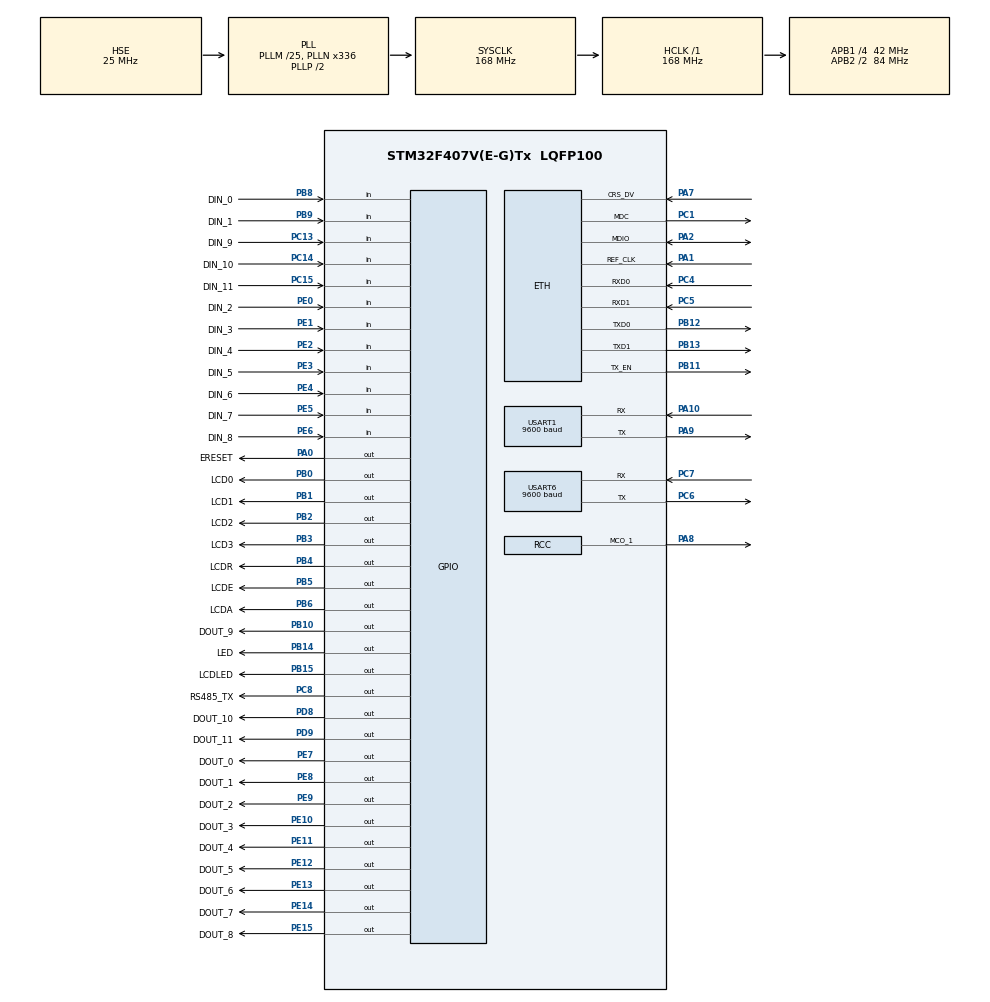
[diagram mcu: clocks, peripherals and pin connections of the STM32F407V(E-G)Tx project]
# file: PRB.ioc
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Dma.Request0=USART1_RX
Dma.Request1=USART6_RX
Dma.USART1_RX.0.Direction=DMA_PERIPH_TO_MEMORY
Dma.USART1_RX.0.FIFOMode=DMA_FIFOMODE_DISABLE
Dma.USART1_RX.0.Instance=DMA2_Stream2
Dma.USART1_RX.0.MemDataAlignment=DMA_MDATAALIGN_BYTE
Dma.USART1_RX.0.MemInc=DMA_MINC_ENABLE
Dma.USART1_RX.0.Mode=DMA_NORMAL
Dma.USART1_RX.0.PeriphDataAlignment=DMA_PDATAALIGN_BYTE
Dma.USART1_RX.0.PeriphInc=DMA_PINC_DISABLE
Dma.USART1_RX.0.Priority=DMA_PRIORITY_LOW
Dma.USART6_RX.1.Direction=DMA_PERIPH_TO_MEMORY
Dma.USART6_RX.1.FIFOMode=DMA_FIFOMODE_DISABLE
Dma.USART6_RX.1.Instance=DMA2_Stream1
Dma.USART6_RX.1.MemDataAlignment=DMA_MDATAALIGN_BYTE
Dma.USART6_RX.1.MemInc=DMA_MINC_ENABLE
Dma.USART6_RX.1.Mode=DMA_NORMAL
Dma.USART6_RX.1.PeriphDataAlignment=DMA_PDATAALIGN_BYTE
Dma.USART6_RX.1.PeriphInc=DMA_PINC_DISABLE
Dma.USART6_RX.1.Priority=DMA_PRIORITY_LOW
ETH.AutoNegotiation=ETH_AUTONEGOTIATION_DISABLE
ETH.DuplexMode=ETH_MODE_HALFDUPLEX
ETH.MediaInterface=ETH_MEDIA_INTERFACE_RMII
ETH.PhyAddress=0
FREERTOS.BinarySemaphores01=writeMemorySemaphore,Dynamic,NULL
FREERTOS.Tasks01=defaultTask,0,128,StartDefaultTask,Default,NULL,Dynamic,NULL,NULL
FREERTOS.configTOTAL_HEAP_SIZE=25360
FREERTOS.configUSE_NEWLIB_REENTRANT=1
LWIP.GATEWAY_ADDRESS=192.168.001.001
LWIP.IP_ADDRESS=192.168.001.177
LWIP.LWIP_DHCP=0
LWIP.NETMASK_ADDRESS=255.255.255.000
LWIP.Version=v2.1.2_Cube
Mcu.Family=STM32F4
Mcu.Name=STM32F407V(E-G)Tx
Mcu.Package=LQFP100
NVIC.DMA2_Stream1_IRQn=true\:5\:0\:false\:false\:true\:true\:false\:true
NVIC.DMA2_Stream2_IRQn=true\:5\:0\:false\:false\:true\:true\:false\:true
NVIC.ETH_IRQn=true\:5\:0\:false\:false\:true\:true\:false\:true
NVIC.PriorityGroup=NVIC_PRIORITYGROUP_4
NVIC.TIM1_UP_TIM10_IRQn=true\:15\:0\:false\:false\:true\:false\:false\:true
NVIC.TimeBase=TIM1_UP_TIM10_IRQn
NVIC.TimeBaseIP=TIM1
NVIC.USART1_IRQn=true\:5\:0\:false\:false\:true\:true\:true\:true
NVIC.USART6_IRQn=true\:5\:0\:false\:false\:true\:true\:true\:true
PA0-WKUP.GPIO_Label=ERESET
PA0-WKUP.Signal=GPIO_Output
PA1.Mode=RMII
PA1.Signal=ETH_REF_CLK
PA10.Mode=Asynchronous
PA10.Signal=USART1_RX
PA13.Mode=Serial_Wire
PA13.Signal=SYS_JTMS-SWDIO
PA14.Mode=Serial_Wire
PA14.Signal=SYS_JTCK-SWCLK
PA2.Mode=RMII
PA2.Signal=ETH_MDIO
PA7.Mode=RMII
PA7.Signal=ETH_CRS_DV
PA8.Mode=Clock-out-1
PA8.Signal=RCC_MCO_1
PA9.Mode=Asynchronous
PA9.Signal=USART1_TX
PB0.GPIO_Label=LCD0
PB0.Signal=GPIO_Output
PB1.GPIO_Label=LCD1
PB1.Signal=GPIO_Output
PB10.GPIO_Label=DOUT_9
PB10.Signal=GPIO_Output
PB11.Mode=RMII
PB11.Signal=ETH_TX_EN
PB12.Mode=RMII
PB12.Signal=ETH_TXD0
PB13.Mode=RMII
PB13.Signal=ETH_TXD1
PB14.GPIO_Label=LED
PB14.Signal=GPIO_Output
PB15.GPIO_Label=LCDLED
PB15.Signal=GPIO_Output
PB2.GPIO_Label=LCD2
PB2.Signal=GPIO_Output
PB3.GPIO_Label=LCD3
PB3.Signal=GPIO_Output
PB4.GPIO_Label=LCDR
PB4.Signal=GPIO_Output
PB5.GPIO_Label=LCDE
PB5.Signal=GPIO_Output
PB6.GPIO_Label=LCDA
PB6.Signal=GPIO_Output
PB8.GPIO_Label=DIN_0
PB8.Signal=GPIO_Input
PB9.GPIO_Label=DIN_1
PB9.Signal=GPIO_Input
PC1.Mode=RMII
PC1.Signal=ETH_MDC
PC13-ANTI_TAMP.GPIO_Label=DIN_9
PC13-ANTI_TAMP.Signal=GPIO_Input
PC14-OSC32_IN.GPIO_Label=DIN_10
PC14-OSC32_IN.Signal=GPIO_Input
PC15-OSC32_OUT.GPIO_Label=DIN_11
PC15-OSC32_OUT.Signal=GPIO_Input
PC4.Mode=RMII
PC4.Signal=ETH_RXD0
PC5.Mode=RMII
PC5.Signal=ETH_RXD1
PC6.Mode=Asynchronous
PC6.Signal=USART6_TX
PC7.Mode=Asynchronous
PC7.Signal=USART6_RX
PC8.GPIO_Label=RS485_TX
PC8.Signal=GPIO_Output
PD8.GPIO_Label=DOUT_10
PD8.Signal=GPIO_Output
PD9.GPIO_Label=DOUT_11
PD9.Signal=GPIO_Output
PE0.GPIO_Label=DIN_2
PE0.Signal=GPIO_Input
PE1.GPIO_Label=DIN_3
PE1.Signal=GPIO_Input
PE10.GPIO_Label=DOUT_3
PE10.Signal=GPIO_Output
PE11.GPIO_Label=DOUT_4
PE11.Signal=GPIO_Output
PE12.GPIO_Label=DOUT_5
PE12.Signal=GPIO_Output
PE13.GPIO_Label=DOUT_6
PE13.Signal=GPIO_Output
PE14.GPIO_Label=DOUT_7
PE14.Signal=GPIO_Output
PE15.GPIO_Label=DOUT_8
PE15.Signal=GPIO_Output
PE2.GPIO_Label=DIN_4
PE2.Signal=GPIO_Input
PE3.GPIO_Label=DIN_5
PE3.Signal=GPIO_Input
PE4.GPIO_Label=DIN_6
PE4.Signal=GPIO_Input
PE5.GPIO_Label=DIN_7
PE5.Signal=GPIO_Input
PE6.GPIO_Label=DIN_8
PE6.Signal=GPIO_Input
PE7.GPIO_Label=DOUT_0
PE7.PinState=GPIO_PIN_RESET
PE7.Signal=GPIO_Output
PE8.GPIO_Label=DOUT_1
PE8.Signal=GPIO_Output
PE9.GPIO_Label=DOUT_2
PE9.Signal=GPIO_Output
PH0-OSC_IN.Mode=HSE-External-Oscillator
PH0-OSC_IN.Signal=RCC_OSC_IN
PH1-OSC_OUT.Mode=HSE-External-Oscillator
PH1-OSC_OUT.Signal=RCC_OSC_OUT
ProjectManager.HeapSize=0x200
ProjectManager.StackSize=0x400
ProjectManager.TargetToolchain=STM32CubeIDE
RCC.48MHZClocksFreq_Value=84000000
RCC.AHBFreq_Value=168000000
RCC.APB1CLKDivider=RCC_HCLK_DIV4
RCC.APB1Freq_Value=42000000
RCC.APB1TimFreq_Value=84000000
RCC.APB2CLKDivider=RCC_HCLK_DIV2
RCC.APB2Freq_Value=84000000
RCC.APB2TimFreq_Value=168000000
RCC.CortexFreq_Value=168000000
RCC.HCLKFreq_Value=168000000
RCC.HSE_VALUE=25000000
RCC.HSI_VALUE=16000000
RCC.LSE_VALUE=32768
RCC.PLLM=25
RCC.PLLN=336
RCC.PLLSourceVirtual=RCC_PLLSOURCE_HSE
RCC.RCC_MCO1Source=RCC_MCO1SOURCE_HSE
RCC.SYSCLKFreq_VALUE=168000000
RCC.SYSCLKSource=RCC_SYSCLKSOURCE_PLLCLK
RCC.VCOOutputFreq_Value=336000000
USART1.BaudRate=9600
USART1.Mode=MODE_TX_RX
USART1.VirtualMode=VM_ASYNC
USART1.WordLength=WORDLENGTH_8B
USART6.BaudRate=9600
USART6.VirtualMode=VM_ASYNC
USART6.WordLength=WORDLENGTH_8B
VP_FREERTOS_VS_CMSIS_V1.Mode=CMSIS_V1
VP_LWIP_VS_Enabled.Mode=Enabled
VP_SYS_VS_tim1.Mode=TIM1
board=custom

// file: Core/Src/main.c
/* USER CODE BEGIN Header */
/**
  ******************************************************************************
  * @file           : main.c
  * @brief          : Main program body
  ******************************************************************************
  * @attention
  *
  * Copyright (c) 2022 STMicroelectronics.
  * All rights reserved.
  *
  * This software is licensed under terms that can be found in the LICENSE file
  * in the root directory of this software component.
  * If no LICENSE file comes with this software, it is provided AS-IS.
  *
  ******************************************************************************
  */
/* USER CODE END Header */
#include "main.h"
#include "cmsis_os.h"
#include "lwip.h"

/* USER CODE BEGIN Includes */
#include <task_init.h>
#include <modbus.h>
#include <settings.h>
#include <main_process.h>
#include <lcd.h>
#include <uart_task.h>

/* USER CODE END Includes */

UART_HandleTypeDef huart1;
UART_HandleTypeDef huart6;
DMA_HandleTypeDef hdma_usart1_rx;
DMA_HandleTypeDef hdma_usart6_rx;

osThreadId defaultTaskHandle;
osSemaphoreId writeMemorySemaphoreHandle;

void SystemClock_Config(void);
static void MX_GPIO_Init(void);
static void MX_USART1_UART_Init(void);
static void MX_DMA_Init(void);
static void MX_USART6_UART_Init(void);
void StartDefaultTask(void const * argument);

int main(void)
{
  /* USER CODE BEGIN 1 */
	ModbusInit();
  /* USER CODE END 1 */

  /* MCU Configuration--------------------------------------------------------*/

  /* Reset of all peripherals, Initializes the Flash interface and the Systick. */
  HAL_Init();

  /* Configure the system clock */
  SystemClock_Config();

  /* Initialize all configured peripherals */
  MX_GPIO_Init();
  MX_USART1_UART_Init();
  MX_DMA_Init();
  MX_USART6_UART_Init();
  /* USER CODE BEGIN 2 */
  lcd_init();
  sendStr("HELLO, KONVELS",1,0);
  sendStr("POWERED BY", 2,0);
  sendStr("STM32F407VG",3,0);
  sendStr("I AM ROBOT", 4,0);
  /* USER CODE END 2 */

  /* Create the semaphores(s) */
  /* definition and creation of writeMemorySemaphore */
  osSemaphoreDef(writeMemorySemaphore);
  writeMemorySemaphoreHandle = osSemaphoreCreate(osSemaphore(writeMemorySemaphore), 1);

  /* Create the thread(s) */
  /* definition and creation of defaultTask */
  osThreadDef(defaultTask, StartDefaultTask, osPriorityNormal, 0, 128);
  defaultTaskHandle = osThreadCreate(osThread(defaultTask), NULL);

  /* Start scheduler */
  osKernelStart();

  /* We should never get here as control is now taken by the scheduler */
  /* Infinite loop */
  while (1)
  {

  }
}

void SystemClock_Config(void)
{
  RCC_OscInitTypeDef RCC_OscInitStruct = {0};
  RCC_ClkInitTypeDef RCC_ClkInitStruct = {0};

  /** Configure the main internal regulator output voltage
  */
  __HAL_RCC_PWR_CLK_ENABLE();
  __HAL_PWR_VOLTAGESCALING_CONFIG(PWR_REGULATOR_VOLTAGE_SCALE1);
  /** Initializes the RCC Oscillators according to the specified parameters
  * in the RCC_OscInitTypeDef structure.
  */
  RCC_OscInitStruct.OscillatorType = RCC_OSCILLATORTYPE_HSE;
  RCC_OscInitStruct.HSEState = RCC_HSE_ON;
  RCC_OscInitStruct.PLL.PLLState = RCC_PLL_ON;
  RCC_OscInitStruct.PLL.PLLSource = RCC_PLLSOURCE_HSE;
  RCC_OscInitStruct.PLL.PLLM = 25;
  RCC_OscInitStruct.PLL.PLLN = 336;
  RCC_OscInitStruct.PLL.PLLP = RCC_PLLP_DIV2;
  RCC_OscInitStruct.PLL.PLLQ = 4;
  if (HAL_RCC_OscConfig(&RCC_OscInitStruct) != HAL_OK)
  {
    Error_Handler();
  }
  /** Initializes the CPU, AHB and APB buses clocks
  */
  RCC_ClkInitStruct.ClockType = RCC_CLOCKTYPE_HCLK|RCC_CLOCKTYPE_SYSCLK
                              |RCC_CLOCKTYPE_PCLK1|RCC_CLOCKTYPE_PCLK2;
  RCC_ClkInitStruct.SYSCLKSource = RCC_SYSCLKSOURCE_PLLCLK;
  RCC_ClkInitStruct.AHBCLKDivider = RCC_SYSCLK_DIV1;
  RCC_ClkInitStruct.APB1CLKDivider = RCC_HCLK_DIV4;
  RCC_ClkInitStruct.APB2CLKDivider = RCC_HCLK_DIV2;

  if (HAL_RCC_ClockConfig(&RCC_ClkInitStruct, FLASH_LATENCY_5) != HAL_OK)
  {
    Error_Handler();
  }
  HAL_RCC_MCOConfig(RCC_MCO1, RCC_MCO1SOURCE_HSE, RCC_MCODIV_1);
}

static void MX_USART1_UART_Init(void)
{

  huart1.Instance = USART1;
  huart1.Init.BaudRate = 9600;
  huart1.Init.WordLength = UART_WORDLENGTH_8B;
  huart1.Init.StopBits = UART_STOPBITS_1;
  huart1.Init.Parity = UART_PARITY_NONE;
  huart1.Init.Mode = UART_MODE_TX_RX;
  huart1.Init.HwFlowCtl = UART_HWCONTROL_NONE;
  huart1.Init.OverSampling = UART_OVERSAMPLING_16;
  if (HAL_UART_Init(&huart1) != HAL_OK)
  {
    Error_Handler();
  }

}

static void MX_USART6_UART_Init(void)
{

  huart6.Instance = USART6;
  huart6.Init.BaudRate = 9600;
  huart6.Init.WordLength = UART_WORDLENGTH_8B;
  huart6.Init.StopBits = UART_STOPBITS_1;
  huart6.Init.Parity = UART_PARITY_NONE;
  huart6.Init.Mode = UART_MODE_TX_RX;
  huart6.Init.HwFlowCtl = UART_HWCONTROL_NONE;
  huart6.Init.OverSampling = UART_OVERSAMPLING_16;
  if (HAL_UART_Init(&huart6) != HAL_OK)
  {
    Error_Handler();
  }

}

static void MX_DMA_Init(void)
{

  /* DMA controller clock enable */
  __HAL_RCC_DMA2_CLK_ENABLE();

  /* DMA interrupt init */
  /* DMA2_Stream1_IRQn interrupt configuration */
  HAL_NVIC_SetPriority(DMA2_Stream1_IRQn, 5, 0);
  HAL_NVIC_EnableIRQ(DMA2_Stream1_IRQn);
  /* DMA2_Stream2_IRQn interrupt configuration */
  HAL_NVIC_SetPriority(DMA2_Stream2_IRQn, 5, 0);
  HAL_NVIC_EnableIRQ(DMA2_Stream2_IRQn);

}

static void MX_GPIO_Init(void)
{
  GPIO_InitTypeDef GPIO_InitStruct = {0};

  /* GPIO Ports Clock Enable */
  __HAL_RCC_GPIOE_CLK_ENABLE();
  __HAL_RCC_GPIOC_CLK_ENABLE();
  __HAL_RCC_GPIOH_CLK_ENABLE();
  __HAL_RCC_GPIOA_CLK_ENABLE();
  __HAL_RCC_GPIOB_CLK_ENABLE();
  __HAL_RCC_GPIOD_CLK_ENABLE();

  /*Configure GPIO pin Output Level */
  HAL_GPIO_WritePin(GPIOA, GPIO_PIN_0, GPIO_PIN_RESET);

  /*Configure GPIO pin Output Level */
  HAL_GPIO_WritePin(GPIOB, LCD0_Pin|LCD1_Pin|LCD2_Pin|DOUT_9_Pin
                          |LED_Pin|LCDLED_Pin|LCD3_Pin|LCDR_Pin
                          |LCDE_Pin|LCDA_Pin, GPIO_PIN_RESET);

  /*Configure GPIO pin Output Level */
  HAL_GPIO_WritePin(GPIOE, DOUT_0_Pin|DOUT_1_Pin|DOUT_2_Pin|DOUT_3_Pin
                          |DOUT_4_Pin|DOUT_5_Pin|DOUT_6_Pin|DOUT_7_Pin
                          |DOUT_8_Pin, GPIO_PIN_RESET);

  /*Configure GPIO pin Output Level */
  HAL_GPIO_WritePin(GPIOD, DOUT_10_Pin|DOUT_11_Pin, GPIO_PIN_RESET);

  /*Configure GPIO pin Output Level */
  HAL_GPIO_WritePin(RS485_TX_GPIO_Port, RS485_TX_Pin, GPIO_PIN_RESET);

  /*Configure GPIO pins : DIN_4_Pin DIN_5_Pin DIN_6_Pin DIN_7_Pin
                           DIN_8_Pin DIN_2_Pin DIN_3_Pin */
  GPIO_InitStruct.Pin = DIN_4_Pin|DIN_5_Pin|DIN_6_Pin|DIN_7_Pin
                          |DIN_8_Pin|DIN_2_Pin|DIN_3_Pin;
  GPIO_InitStruct.Mode = GPIO_MODE_INPUT;
  GPIO_InitStruct.Pull = GPIO_NOPULL;
  HAL_GPIO_Init(GPIOE, &GPIO_InitStruct);

  /*Configure GPIO pins : DIN_9_Pin DIN_10_Pin DIN_11_Pin */
  GPIO_InitStruct.Pin = DIN_9_Pin|DIN_10_Pin|DIN_11_Pin;
  GPIO_InitStruct.Mode = GPIO_MODE_INPUT;
  GPIO_InitStruct.Pull = GPIO_NOPULL;
  HAL_GPIO_Init(GPIOC, &GPIO_InitStruct);

  /*Configure GPIO pin : PA0 */
  GPIO_InitStruct.Pin = GPIO_PIN_0;
  GPIO_InitStruct.Mode = GPIO_MODE_OUTPUT_PP;
  GPIO_InitStruct.Pull = GPIO_NOPULL;
  GPIO_InitStruct.Speed = GPIO_SPEED_FREQ_LOW;
  HAL_GPIO_Init(GPIOA, &GPIO_InitStruct);

  /*Configure GPIO pins : LCD0_Pin LCD1_Pin LCD2_Pin DOUT_9_Pin
                           LED_Pin LCDLED_Pin LCD3_Pin LCDR_Pin
                           LCDE_Pin LCDA_Pin */
  GPIO_InitStruct.Pin = LCD0_Pin|LCD1_Pin|LCD2_Pin|DOUT_9_Pin
                          |LED_Pin|LCDLED_Pin|LCD3_Pin|LCDR_Pin
                          |LCDE_Pin|LCDA_Pin;
  GPIO_InitStruct.Mode = GPIO_MODE_OUTPUT_PP;
  GPIO_InitStruct.Pull = GPIO_NOPULL;
  GPIO_InitStruct.Speed = GPIO_SPEED_FREQ_LOW;
  HAL_GPIO_Init(GPIOB, &GPIO_InitStruct);

  /*Configure GPIO pins : DOUT_0_Pin DOUT_1_Pin DOUT_2_Pin DOUT_3_Pin
                           DOUT_4_Pin DOUT_5_Pin DOUT_6_Pin DOUT_7_Pin
                           DOUT_8_Pin */
  GPIO_InitStruct.Pin = DOUT_0_Pin|DOUT_1_Pin|DOUT_2_Pin|DOUT_3_Pin
                          |DOUT_4_Pin|DOUT_5_Pin|DOUT_6_Pin|DOUT_7_Pin
                          |DOUT_8_Pin;
  GPIO_InitStruct.Mode = GPIO_MODE_OUTPUT_PP;
  GPIO_InitStruct.Pull = GPIO_NOPULL;
  GPIO_InitStruct.Speed = GPIO_SPEED_FREQ_LOW;
  HAL_GPIO_Init(GPIOE, &GPIO_InitStruct);

  /*Configure GPIO pins : DOUT_10_Pin DOUT_11_Pin */
  GPIO_InitStruct.Pin = DOUT_10_Pin|DOUT_11_Pin;
  GPIO_InitStruct.Mode = GPIO_MODE_OUTPUT_PP;
  GPIO_InitStruct.Pull = GPIO_NOPULL;
  GPIO_InitStruct.Speed = GPIO_SPEED_FREQ_LOW;
  HAL_GPIO_Init(GPIOD, &GPIO_InitStruct);

  /*Configure GPIO pin : RS485_TX_Pin */
  GPIO_InitStruct.Pin = RS485_TX_Pin;
  GPIO_InitStruct.Mode = GPIO_MODE_OUTPUT_PP;
  GPIO_InitStruct.Pull = GPIO_NOPULL;
  GPIO_InitStruct.Speed = GPIO_SPEED_FREQ_LOW;
  HAL_GPIO_Init(RS485_TX_GPIO_Port, &GPIO_InitStruct);

  /*Configure GPIO pin : PA8 */
  GPIO_InitStruct.Pin = GPIO_PIN_8;
  GPIO_InitStruct.Mode = GPIO_MODE_AF_PP;
  GPIO_InitStruct.Pull = GPIO_NOPULL;
  GPIO_InitStruct.Speed = GPIO_SPEED_FREQ_LOW;
  GPIO_InitStruct.Alternate = GPIO_AF0_MCO;
  HAL_GPIO_Init(GPIOA, &GPIO_InitStruct);

  /*Configure GPIO pins : DIN_0_Pin DIN_1_Pin */
  GPIO_InitStruct.Pin = DIN_0_Pin|DIN_1_Pin;
  GPIO_InitStruct.Mode = GPIO_MODE_INPUT;
  GPIO_InitStruct.Pull = GPIO_NOPULL;
  HAL_GPIO_Init(GPIOB, &GPIO_InitStruct);

}

void StartDefaultTask(void const * argument)
{
  /* init code for LWIP */
  MX_LWIP_Init();
  /* USER CODE BEGIN 5 */
  task_init();

  /* Infinite loop */
  for(;;)
  {
	main_process();
    osDelay(1);
  }
  /* USER CODE END 5 */
}

void HAL_TIM_PeriodElapsedCallback(TIM_HandleTypeDef *htim)
{
  if (htim->Instance == TIM1) {
    HAL_IncTick();
  }
}

void Error_Handler(void)
{
  __disable_irq();
  while (1)
  {
  }
}

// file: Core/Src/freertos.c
/* USER CODE BEGIN Header */
/**
  ******************************************************************************
  * File Name          : freertos.c
  * Description        : Code for freertos applications
  ******************************************************************************
  * @attention
  *
  * Copyright (c) 2022 STMicroelectronics.
  * All rights reserved.
  *
  * This software is licensed under terms that can be found in the LICENSE file
  * in the root directory of this software component.
  * If no LICENSE file comes with this software, it is provided AS-IS.
  *
  ******************************************************************************
  */
/* USER CODE END Header */

#include "FreeRTOS.h"
#include "task.h"
#include "main.h"

/* USER CODE BEGIN Includes */
#include <task_init.h>
#include <ethernet.h>
#include <uart_task.h>
#include <cmsis_os.h>
#include <lwip.h>

/* USER CODE END Includes */

/* USER CODE BEGIN Variables */
unsigned short port1=502;
unsigned short port2=503;
osMailQId uart_queue; // Id очереди для uart_task
/* USER CODE END Variables */

/* GetIdleTaskMemory prototype (linked to static allocation support) */
void vApplicationGetIdleTaskMemory( StaticTask_t **ppxIdleTaskTCBBuffer, StackType_t **ppxIdleTaskStackBuffer, uint32_t *pulIdleTaskStackSize );

/* USER CODE BEGIN GET_IDLE_TASK_MEMORY */
static StaticTask_t xIdleTaskTCBBuffer;
static StackType_t xIdleStack[configMINIMAL_STACK_SIZE];

void vApplicationGetIdleTaskMemory( StaticTask_t **ppxIdleTaskTCBBuffer, StackType_t **ppxIdleTaskStackBuffer, uint32_t *pulIdleTaskStackSize )
{
  *ppxIdleTaskTCBBuffer = &xIdleTaskTCBBuffer;
  *ppxIdleTaskStackBuffer = &xIdleStack[0];
  *pulIdleTaskStackSize = configMINIMAL_STACK_SIZE;
  /* place for user code */
}
/* USER CODE END GET_IDLE_TASK_MEMORY */

/* USER CODE BEGIN Application */
void task_init()
{
	size_t fre = 0;
	fre=xPortGetFreeHeapSize();
	sys_thread_new("eth_thread1", ethernet_thread, (void*)&port1, DEFAULT_THREAD_STACKSIZE, osPriorityNormal );
	fre=xPortGetFreeHeapSize();
	sys_thread_new("eth_thread2", ethernet_thread, (void*)&port2, DEFAULT_THREAD_STACKSIZE, osPriorityNormal );
	fre=xPortGetFreeHeapSize();
	sys_thread_new("uart_thread", uart_thread, (void*)NULL, 512, osPriorityNormal );
	fre=xPortGetFreeHeapSize();
	osMailQDef(uart_queue, UART_QUEUE_SIZE, Uart_Queue_Struct);
	uart_queue = osMailCreate(osMailQ(uart_queue), NULL);
}

/* USER CODE END Application */
